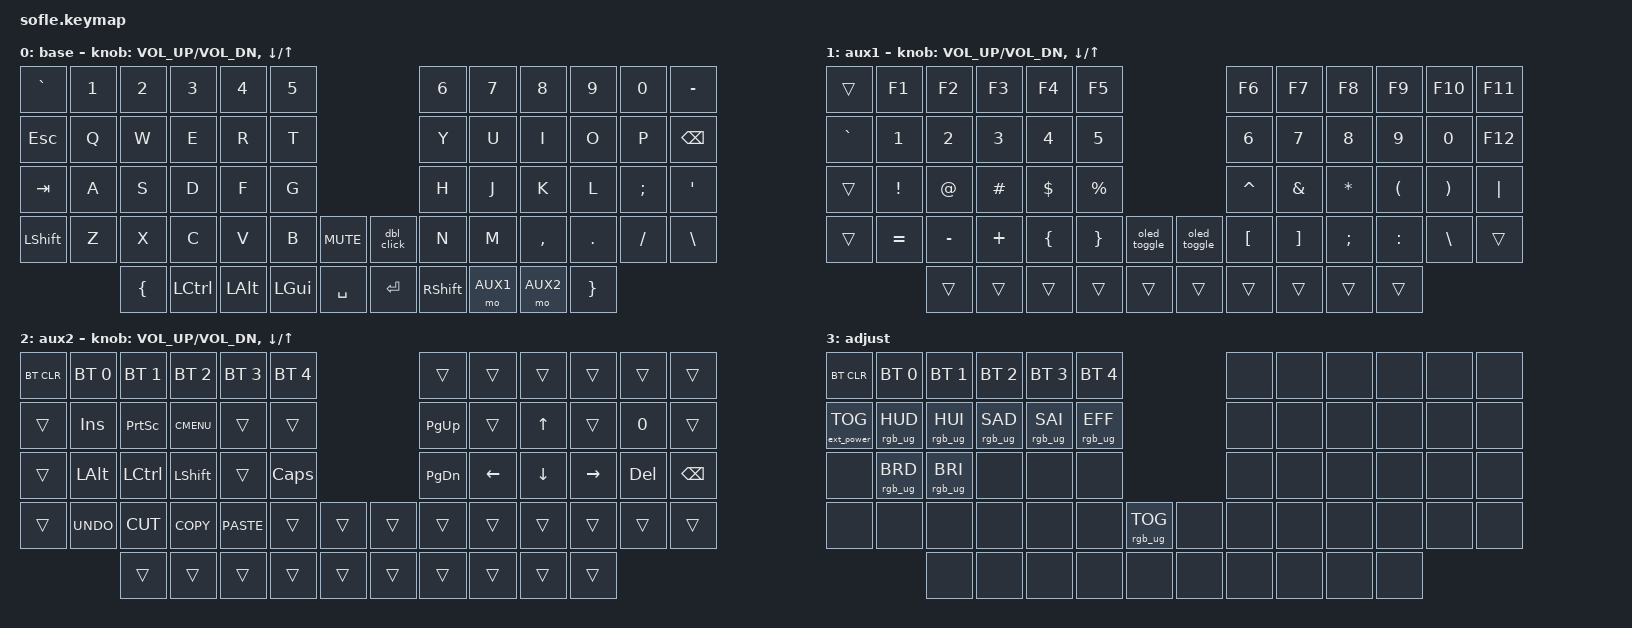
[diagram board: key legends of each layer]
/*
 * Copyright (c) 2020 The ZMK Contributors
 *
 * SPDX-License-Identifier: MIT
 *
 * PandaKB Sofle v1 MX (nice!nano-class Pro Micro nRF52840 controllers,
 * SSD1306 OLED on each half). Target project: zmk-config / shield `sofle`
 * — the build whose matrix wiring was verified against this physical board.
 *
 * Layers: 0 = BASE, 1 = AUX1, 2 = AUX2. M1 = momentary AUX1, M2 = momentary AUX2.
 * Holding M1+M2 together still reaches ADJUST (conditional layer) for BT/RGB.
 *
 * Encoders (BASE, AUX1 and AUX2 rotate the same way):
 *   left:  CW = volume up, CCW = volume down, push = mute
 *   right: CW = down arrow, CCW = up arrow (plain key presses, NOT mouse scroll),
 *          push = double left mouse click
 * On AUX1 the encoder pushes toggle each half's own OLED (left push -> left
 * screen, right push -> right screen, independent; no mute / double click).
 *
 * Encoder pushes live on matrix positions RC(4,5) (left half) and RC(4,6)
 * (right half) — the two slots flanking the center in the row-4 transform line.
 */

#include <behaviors.dtsi>
#include <dt-bindings/zmk/keys.h>
#include <dt-bindings/zmk/bt.h>
#include <dt-bindings/zmk/rgb.h>
#include <dt-bindings/zmk/ext_power.h>
#include <dt-bindings/zmk/mouse.h>

#define BASE 0
#define AUX1 1
#define AUX2 2
#define ADJUST 3

/* Double left mouse click: one physical press of the right encoder button
 * sends exactly two full clicks (each = press + release, 20 ms button-down),
 * with 80 ms between the clicks. Nothing is left held afterwards; holding the
 * button does not repeat the macro (it runs once per press). The timings are
 * set here: tap-ms = 20 (click duration), wait-ms = 80 (gap between clicks),
 * mirrored by the &macro_tap_time / &macro_wait_time control bindings. */
ZMK_MACRO(dbl_click,
    compatible = "zmk,behavior-macro";
    #binding-cells = <0>;
    tap-ms = <20>;
    wait-ms = <80>;
    bindings = <&macro_tap_time 20 &macro_wait_time 80 &macro_tap &mkp MB1 &mkp MB1>;
)

/ {

   // Activate ADJUST layer by pressing M1 and M2 together
    conditional_layers {
        compatible = "zmk,conditional-layers";
        adjust_layer {
            if-layers = <AUX1 AUX2>;
            then-layer = <ADJUST>;
        };
    };

    keymap {
        compatible = "zmk,keymap";

        base_layer {
            display-name = "base";
// ------------------------------------------------------------------------------------------------------------
// |   `   |  1  |  2  |  3   |  4   |  5   |                   |  6   |  7    |  8    |  9   |   0   |   -   |
// |  ESC  |  Q  |  W  |  E   |  R   |  T   |                   |  Y   |  U    |  I    |  O   |   P   | BKSPC |
// |  TAB  |  A  |  S  |  D   |  F   |  G   |                   |  H   |  J    |  K    |  L   |   ;   |   '   |
// | SHIFT |  Z  |  X  |  C   |  V   |  B   | L-ENCPUSH  |  | R-ENCPUSH |  N  |  M    |  ,    |  .   |   /   |   \   |
//               |  [  | CTRL | ALT  | CMD  | SPACE  |  | ENTER | SHIFT |  M1  |  M2  |   ]   |
            bindings = <
&kp GRAVE &kp N1 &kp N2 &kp N3 &kp N4 &kp N5                             &kp N6 &kp N7 &kp N8 &kp N9 &kp N0 &kp MINUS
&kp ESC   &kp Q  &kp W  &kp E  &kp R  &kp T                              &kp Y  &kp U  &kp I  &kp O  &kp P  &kp BSPC
&kp TAB   &kp A  &kp S  &kp D  &kp F  &kp G                              &kp H  &kp J  &kp K  &kp L  &kp SEMI &kp SQT
&kp LSHFT &kp Z  &kp X  &kp C  &kp V  &kp B  &kp C_MUTE  &dbl_click       &kp N  &kp M  &kp COMMA &kp DOT &kp FSLH &kp BSLH
                  &kp LBRC &kp LCTRL &kp LALT &kp LGUI &kp SPACE  &kp RET &kp RSHFT &mo AUX1 &mo AUX2 &kp RBRC
            >;

            sensor-bindings = <&inc_dec_kp C_VOL_UP C_VOL_DN &inc_dec_kp DOWN UP>;
        };

        aux1_layer {
            display-name = "aux1";
// Rotation same as BASE. Encoder pushes toggle the OLEDs:
// left push -> left screen, right push -> right screen (independent).
// ------------------------------------------------------------------------------------------------------------
// |       |  F1 |  F2 |  F3  |  F4  |  F5  |                   |  F6  |  F7   |  F8   |  F9  |  F10  |  F11  |
// |   `   |  1  |  2  |  3   |  4   |  5   |                   |  6   |  7    |  8    |  9   |   0   |  F12  |
// |       |  !  |  @  |  #   |  $   |  %   |                   |  ^   |  &    |  *    |  (   |   )   |   |   |
// |       |  =  |  -  |  +   |  {   |  }   | OLED-L  |  | OLED-R |  [   |  ]    |  ;    |  :   |   \   |       |
//               |     |      |      |      |        |  |       |      |       |       |      |
            bindings = <
&trans    &kp F1    &kp F2    &kp F3      &kp F4    &kp F5                    &kp F6    &kp F7   &kp F8    &kp F9    &kp F10   &kp F11
&kp GRAVE &kp N1    &kp N2    &kp N3      &kp N4    &kp N5                    &kp N6    &kp N7   &kp N8    &kp N9    &kp N0    &kp F12
&trans    &kp EXCL  &kp AT    &kp HASH    &kp DLLR  &kp PRCNT                 &kp CARET &kp AMPS &kp ASTRK &kp LPAR  &kp RPAR  &kp PIPE
&trans    &kp EQUAL &kp MINUS &kp PLUS &kp LBRC  &kp RBRC   &oled_toggle &oled_toggle  &kp LBKT  &kp RBKT &kp SEMI  &kp COLON &kp BSLH  &trans
                    &trans    &trans      &trans    &trans     &trans &trans  &trans    &trans   &trans    &trans
            >;

            sensor-bindings = <&inc_dec_kp C_VOL_UP C_VOL_DN &inc_dec_kp DOWN UP>;
        };

        aux2_layer {
            display-name = "aux2";
// Rotation same as BASE. Encoder pushes are transparent here.
// ------------------------------------------------------------------------------------------------------------
// | BTCLR | BT1  | BT2  |  BT3  |  BT4  |  BT5 |                |      |      |       |      |       |       |
// |       | INS  | PSCR | GUI   |       |      |                | PGUP |      |   ^   |      |       |       |
// |       | ALT  | CTRL | SHIFT |       | CAPS |                | PGDN |   <- |   v   |  ->  | DEL   | BKSPC |
// |       | UNDO | CUT  | COPY  | PASTE |      |      |  |      |      |      |       |      |       |       |
//                |      |       |       |      |      |  |      |      |      |       |      |
            bindings = <
&bt BT_CLR &bt BT_SEL 0 &bt BT_SEL 1 &bt BT_SEL 2 &bt BT_SEL 3 &bt BT_SEL 4                  &trans    &trans    &trans   &trans    &trans  &trans
&trans     &kp INS      &kp PSCRN    &kp K_CMENU  &trans       &trans                        &kp PG_UP &trans    &kp UP   &trans    &kp N0  &trans
&trans     &kp LALT     &kp LCTRL    &kp LSHFT    &trans       &kp CLCK                      &kp PG_DN &kp LEFT  &kp DOWN &kp RIGHT &kp DEL &kp BSPC
&trans     &kp K_UNDO   &kp K_CUT    &kp K_COPY   &kp K_PASTE  &trans        &trans  &trans  &trans    &trans    &trans   &trans    &trans  &trans
                        &trans       &trans       &trans       &trans        &trans  &trans  &trans    &trans    &trans   &trans
            >;

            sensor-bindings = <&inc_dec_kp C_VOL_UP C_VOL_DN &inc_dec_kp DOWN UP>;
        };

        adjust_layer {
// ----------------------------------------------------------------------------------------------------------------------------
// | BTCLR  |  BT1    |  BT2    |   BT3   |   BT4   |   BT5   |                  |      |      |       |      |       |       |
// | EXTPWR | RGB_HUD | RGB_HUI | RGB_SAD | RGB_SAI | RGB_EFF |                  |      |      |       |      |       |       |
// |        | RGB_BRD | RGB_BRI |         |         |         |                  |      |      |       |      |       |       |
// |        |         |         |         |         |         | RGB_TOG | |      |      |      |       |      |       |       |
//                    |         |         |         |         |         | |      |      |      |       |      |
            display-name = "adjust";
            bindings = <
&bt BT_CLR        &bt BT_SEL 0    &bt BT_SEL 1    &bt BT_SEL 2    &bt BT_SEL 3    &bt BT_SEL 4                            &none &none &none &none &none &none
&ext_power EP_TOG &rgb_ug RGB_HUD &rgb_ug RGB_HUI &rgb_ug RGB_SAD &rgb_ug RGB_SAI &rgb_ug RGB_EFF                         &none &none &none &none &none &none
&none             &rgb_ug RGB_BRD &rgb_ug RGB_BRI &none           &none           &none                                   &none &none &none &none &none &none
&none             &none           &none           &none           &none           &none            &rgb_ug RGB_TOG &none  &none &none &none &none &none &none
                                  &none           &none           &none           &none            &none           &none  &none &none &none &none
            >;
        };

    };
};
